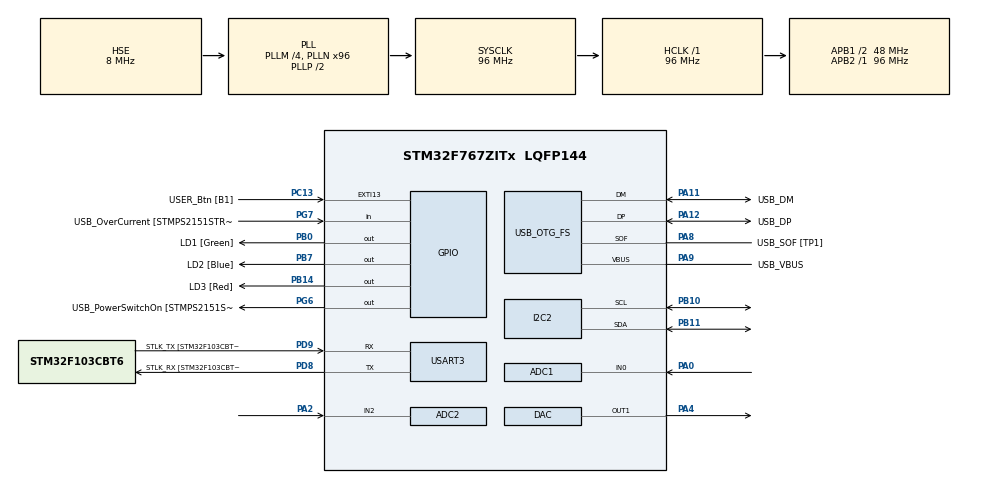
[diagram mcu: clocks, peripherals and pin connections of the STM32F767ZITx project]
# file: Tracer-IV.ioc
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ADC1.Channel-1\#ChannelRegularConversion=ADC_CHANNEL_0
ADC1.NbrOfConversionFlag=1
ADC1.Rank-1\#ChannelRegularConversion=1
ADC1.SamplingTime-1\#ChannelRegularConversion=ADC_SAMPLETIME_480CYCLES
ADC1.master=1
ADC2.Channel-0\#ChannelRegularConversion=ADC_CHANNEL_2
ADC2.NbrOfConversionFlag=1
ADC2.Rank-0\#ChannelRegularConversion=1
ADC2.SamplingTime-0\#ChannelRegularConversion=ADC_SAMPLETIME_480CYCLES
CORTEX_M7.default_mode_Activation=1
I2C2.Timing=0x20303E5D
Mcu.Family=STM32F7
Mcu.Name=STM32F767ZITx
Mcu.Package=LQFP144
NVIC.EXTI15_10_IRQn=true\:5\:0\:true\:false\:true\:true\:true\:true
NVIC.PriorityGroup=NVIC_PRIORITYGROUP_4
PA0/WKUP.Signal=ADCx_IN0
PA10.GPIO_Label=USB_ID
PA10.Signal=USB_OTG_FS_ID
PA11.GPIO_Label=USB_DM
PA11.Mode=Device_Only
PA11.Signal=USB_OTG_FS_DM
PA12.GPIO_Label=USB_DP
PA12.Mode=Device_Only
PA12.Signal=USB_OTG_FS_DP
PA13.GPIO_Label=TMS
PA13.Mode=Serial_Wire
PA13.Signal=SYS_JTMS-SWDIO
PA14.GPIO_Label=TCK
PA14.Mode=Serial_Wire
PA14.Signal=SYS_JTCK-SWCLK
PA2.Signal=ADCx_IN2
PA4.Signal=COMP_DAC1_group
PA7.GPIO_Label=RMII_CRS_DV [LAN8742A-CZ-TR_CRS_DV]
PA7.Signal=ETH_CRS_DV
PA8.GPIO_Label=USB_SOF [TP1]
PA8.Mode=Activate_SOF_FS
PA8.Signal=USB_OTG_FS_SOF
PA9.GPIO_Label=USB_VBUS
PA9.Mode=Activate_VBUS
PA9.Signal=USB_OTG_FS_VBUS
PB0.GPIO_Label=LD1 [Green]
PB0.Signal=GPIO_Output
PB10.GPIO_Pu=GPIO_PULLUP
PB10.Mode=I2C
PB10.Signal=I2C2_SCL
PB11.GPIO_Pu=GPIO_PULLUP
PB11.Mode=I2C
PB11.Signal=I2C2_SDA
PB13.GPIO_Label=RMII_TXD1 [LAN8742A-CZ-TR_TXD1]
PB13.Signal=ETH_TXD1
PB14.GPIO_Label=LD3 [Red]
PB14.Signal=GPIO_Output
PB3.GPIO_Label=SWO
PB3.Signal=SYS_JTDO-SWO
PB7.GPIO_Label=LD2 [Blue]
PB7.Signal=GPIO_Output
PC1.GPIO_Label=RMII_MDC [LAN8742A-CZ-TR_MDC]
PC1.Signal=ETH_MDC
PC13.GPIO_Label=USER_Btn [B1]
PC13.Signal=GPXTI13
PC14/OSC32_IN.Mode=LSE-External-Oscillator
PC14/OSC32_IN.Signal=RCC_OSC32_IN
PC15/OSC32_OUT.Mode=LSE-External-Oscillator
PC15/OSC32_OUT.Signal=RCC_OSC32_OUT
PC4.GPIO_Label=RMII_RXD0 [LAN8742A-CZ-TR_RXD0]
PC4.Signal=ETH_RXD0
PC5.GPIO_Label=RMII_RXD1 [LAN8742A-CZ-TR_RXD1]
PC5.Signal=ETH_RXD1
PD8.GPIO_Label=STLK_RX [STM32F103CBT6_PA3]
PD8.Mode=Asynchronous
PD8.Signal=USART3_TX
PD9.GPIO_Label=STLK_TX [STM32F103CBT6_PA2]
PD9.Mode=Asynchronous
PD9.Signal=USART3_RX
PG11.GPIO_Label=RMII_TX_EN [LAN8742A-CZ-TR_TXEN]
PG11.Signal=ETH_TX_EN
PG13.GPIO_Label=RMII_TXD0 [LAN8742A-CZ-TR_TXD0]
PG13.Signal=ETH_TXD0
PG6.GPIO_Label=USB_PowerSwitchOn [STMPS2151STR_EN]
PG6.Signal=GPIO_Output
PG7.GPIO_Label=USB_OverCurrent [STMPS2151STR_FAULT]
PG7.Signal=GPIO_Input
PH0/OSC_IN.GPIO_Label=MCO [STM32F103CBT6_PA8]
PH0/OSC_IN.Mode=HSE-External-Clock-Source
PH0/OSC_IN.Signal=RCC_OSC_IN
PH1/OSC_OUT.Mode=HSE-External-Clock-Source
PH1/OSC_OUT.Signal=RCC_OSC_OUT
ProjectManager.HeapSize=0x200
ProjectManager.StackSize=0x400
ProjectManager.TargetToolchain=STM32CubeIDE
RCC.48MHZClocksFreq_Value=24000000
RCC.AHBFreq_Value=96000000
RCC.APB1CLKDivider=RCC_HCLK_DIV2
RCC.APB1Freq_Value=48000000
RCC.APB1TimFreq_Value=96000000
RCC.APB2Freq_Value=96000000
RCC.APB2TimFreq_Value=96000000
RCC.CortexFreq_Value=96000000
RCC.HCLKFreq_Value=96000000
RCC.HSE_VALUE=8000000
RCC.HSI_VALUE=16000000
RCC.PLLM=4
RCC.PLLMUL=RCC_PLL_MUL9
RCC.PLLN=96
RCC.PLLQ=4
RCC.PRESCALERUSB=RCC_USBCLKSOURCE_PLL_DIV1_5
RCC.SYSCLKFreq_VALUE=96000000
RCC.SYSCLKSource=RCC_SYSCLKSOURCE_PLLCLK
RCC.SYSCLKSourceVirtual=RCC_SYSCLKSOURCE_PLLCLK
RCC.USBFreq_Value=48000000
RCC.VCOOutputFreq_Value=192000000
SH.ADCx_IN0.0=ADC1_IN0,IN0
SH.ADCx_IN2.0=ADC2_IN2,IN2
SH.COMP_DAC1_group.0=DAC_OUT1,DAC_OUT1
USART3.VirtualMode-Asynchronous=VM_ASYNC
USB_OTG_FS.VirtualMode=Device_Only
board=NUCLEO-F767ZI

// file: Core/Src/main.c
/* USER CODE BEGIN Header */
/**
 ******************************************************************************
 * @file           : main.c
 * @brief          : Main program body
 ******************************************************************************
 * @attention
 *
 * Copyright (c) 2026 STMicroelectronics.
 * All rights reserved.
 *
 * This software is licensed under terms that can be found in the LICENSE file
 * in the root directory of this software component.
 * If no LICENSE file comes with this software, it is provided AS-IS.
 *
 ******************************************************************************
 */
/* USER CODE END Header */
#include "main.h"

/* USER CODE BEGIN Includes */
#include <stdio.h>
#include "INA219.h"
/* USER CODE END Includes */

ADC_HandleTypeDef hadc1;
ADC_HandleTypeDef hadc2;

DAC_HandleTypeDef hdac;

I2C_HandleTypeDef hi2c2;

UART_HandleTypeDef huart3;

PCD_HandleTypeDef hpcd_USB_OTG_FS;

/* USER CODE BEGIN PV */
#define DEBOUNCE_MS      200
#define VREF             3.3f
#define DAC_MAX          4095.0f
#define SWEEP_STEP_V     0.05f   // bước điện áp
#define SWEEP_STEPS      66      // 66 x 0.05 = 3.3 V
#define SETTLE_MS        10      // chờ ổn định sau mỗi bước
#define R_SHUNT_OHM      0.1f
#define CAL_SAMPLES      64      // số mẫu đo offset
#define AVG_SAMPLES      16      // số mẫu trung bình dòng mỗi bước
#define ADC_AVG_SAMPLES  16      // số mẫu trung bình ADC PA0 (đặt 1 để tắt)

static float current_offset_A = 0.0f;   // offset dòng (A), đo lúc bắt đầu sweep
volatile uint8_t button_event = 0;
volatile uint8_t measurement_running = 0;
volatile uint8_t measurement_paused = 0;
static volatile uint32_t last_button_tick = 0;
uint32_t sweep_index = 0;

/* USER CODE END PV */

void SystemClock_Config(void);
static void MPU_Config(void);
static void MX_GPIO_Init(void);
static void MX_ADC1_Init(void);
static void MX_DAC_Init(void);
static void MX_USART3_UART_Init(void);
static void MX_USB_OTG_FS_PCD_Init(void);
static void MX_ADC2_Init(void);
static void MX_I2C2_Init(void);
/* USER CODE BEGIN PFP */
void Calibrate_Current_Offset(void);

/* USER CODE END PFP */

/* USER CODE BEGIN 0 */
// INA219 address
#define INA219_ADDR (0x40 << 1)

// INA219 register
#define INA219_REG_SHUNT_VOLTAGE  0x01
#define INA219_REG_BUS_VOLTAGE    0x02

// Read INA219 register
uint16_t INA219_ReadRegister(uint8_t reg) {
	uint8_t data[2];

	if (HAL_I2C_Mem_Read(&hi2c2,
	INA219_ADDR, reg,
	I2C_MEMADD_SIZE_8BIT, data, 2, 100) != HAL_OK) {
		return 0xFFFF;
	}

	return ((uint16_t) data[0] << 8) | data[1];
}
void DAC_SetVoltage(float volt) {
	if (volt < 0.0f)
		volt = 0.0f;
	if (volt > VREF)
		volt = VREF;
	uint32_t code = (uint32_t) (volt / VREF * DAC_MAX + 0.5f);
	HAL_DAC_SetValue(&hdac, DAC_CHANNEL_1, DAC_ALIGN_12B_R, code);
}
// Đọc 1 mẫu dòng (A) từ INA219. Trả về 1 nếu OK
static uint8_t INA219_ReadCurrent_A(float *i_A) {
	uint16_t raw = INA219_ReadRegister(INA219_REG_SHUNT_VOLTAGE);
	if (raw == 0xFFFF)
		return 0;
	*i_A = (((int16_t) raw) * 0.00001f) / R_SHUNT_OHM;
	return 1;
}

// Đọc V_BUS (V) từ INA219. Trả về 1 nếu OK
static uint8_t INA219_ReadBusVoltage_V(float *v_bus) {
	uint16_t raw_bus = INA219_ReadRegister(INA219_REG_BUS_VOLTAGE);
	if (raw_bus == 0xFFFF)
		return 0;
	*v_bus = (raw_bus >> 3) * 0.004f;
	return 1;
}

// Khởi tạo lại I2C2 để thoát trạng thái treo sau lỗi
static void INA219_I2C_Recover(void) {
	HAL_I2C_DeInit(&hi2c2);
	HAL_I2C_Init(&hi2c2);
	HAL_I2CEx_ConfigAnalogFilter(&hi2c2, I2C_ANALOGFILTER_ENABLE);
	HAL_I2CEx_ConfigDigitalFilter(&hi2c2, 0);
}

// Trung bình n mẫu dòng (A). Delay 1 ms để INA219 kịp có kết quả chuyển đổi mới
static float INA219_ReadCurrentAvg_A(uint16_t n) {
	float sum = 0.0f;
	uint16_t cnt = 0;
	for (uint16_t k = 0; k < n; k++) {
		float x;
		if (INA219_ReadCurrent_A(&x)) {
			sum += x;
			cnt++;
		}
		HAL_Delay(1);
	}
	return (cnt > 0) ? (sum / cnt) : 0.0f;
}

// Trung bình n mẫu ADC1 (PA0)
static uint32_t ADC1_ReadAvg(uint16_t n) {
	uint32_t sum = 0;
	uint16_t cnt = 0;
	for (uint16_t k = 0; k < n; k++) {
		HAL_ADC_Start(&hadc1);
		if (HAL_ADC_PollForConversion(&hadc1, 10) == HAL_OK) {
			sum += HAL_ADC_GetValue(&hadc1);
			cnt++;
		}
	}
	HAL_ADC_Stop(&hadc1);
	return (cnt > 0) ? (sum / cnt) : 0;
}

// Đo offset dòng khi DAC = 0 V (LED chưa dẫn nên dòng thật ≈ 0)
void Calibrate_Current_Offset(void) {
	DAC_SetVoltage(0.0f);
	HAL_Delay(200);                       // chờ điện áp xả và ổn định
	current_offset_A = INA219_ReadCurrentAvg_A(CAL_SAMPLES);
}
// Cho printf() ra UART3
int __io_putchar(int ch) {
	HAL_UART_Transmit(&huart3, (uint8_t*) &ch, 1, 100);
	return ch;
}

// Gửi 1 dòng dữ liệu (LUÔN trên 1 dòng duy nhất, kết thúc bằng \r\n)
static void UART_SendDataLine(float v_set, uint32_t adc_raw, float v_pa0,
		float i_mA, float v_bus, uint8_t bus_ok) {
	char msg[200];
	int len =
			snprintf(msg, sizeof(msg),
					"V_PA4=%.2f V | V_PA0_RAW=%lu | V_PA0=%.3f V | I=%.3f mA | V_BUS=%.3f V | BUS_OK=%u\r\n",
					v_set, (unsigned long) adc_raw, v_pa0, i_mA, v_bus, bus_ok);

	if (len > 0 && len < (int) sizeof(msg)) {
		HAL_UART_Transmit(&huart3, (uint8_t*) msg, (uint16_t) len, 1000);
	}
}

/* USER CODE END 0 */

int main(void) {

	/* MPU Configuration--------------------------------------------------------*/
	MPU_Config();

	/* MCU Configuration--------------------------------------------------------*/

	/* Reset of all peripherals, Initializes the Flash interface and the Systick. */
	HAL_Init();

	/* Configure the system clock */
	SystemClock_Config();

	/* Initialize all configured peripherals */
	MX_GPIO_Init();
	MX_ADC1_Init();
	MX_DAC_Init();
	MX_USART3_UART_Init();
	MX_USB_OTG_FS_PCD_Init();
	MX_ADC2_Init();
	MX_I2C2_Init();
	/* USER CODE BEGIN 2 */

	HAL_Delay(10);
	volatile HAL_StatusTypeDef result;

	result = HAL_I2C_IsDeviceReady(&hi2c2, (uint16_t) (0x40 << 1), 3, 100);
	if (result == HAL_OK) {
		printf("INA219 DETECTED\r\n");
		HAL_GPIO_WritePin(GPIOB, GPIO_PIN_7, GPIO_PIN_SET);   // LED
	} else {
		// KHÔNG kẹt vòng lặp nữa: vẫn cho phép bấm nút,
		// mỗi lần bấm sẽ báo lỗi INA219 lên Python.
		printf("INA219 NOT FOUND\r\n");
		HAL_GPIO_WritePin(GPIOB, GPIO_PIN_7, GPIO_PIN_RESET);
	}

	HAL_DAC_Start(&hdac, DAC_CHANNEL_1);

	/* USER CODE END 2 */

	/* Infinite loop */
	while (1) {

		/* USER CODE BEGIN 3 */
		if (button_event == 1) {

			button_event = 0;

			// =========================================
			// TRẠNG THÁI 1: IDLE -> START
			// =========================================
			if (!measurement_running && !measurement_paused) {

				measurement_running = 1;

				printf("SWEEP START\r\n");

				float v_chk;

				uint8_t ok = INA219_ReadBusVoltage_V(&v_chk);

				if (!ok) {
					INA219_I2C_Recover();
					ok = INA219_ReadBusVoltage_V(&v_chk);
				}

				if (!ok) {

					measurement_running = 0;
					measurement_paused = 0;

					DAC_SetVoltage(0.0f);

					uint32_t adc_raw = ADC1_ReadAvg(1);
					float v_pa0 = ((float) adc_raw * 3.3f) / 4095.0f;

					UART_SendDataLine(0.0f, adc_raw, v_pa0, 0.0f, -1.0f, 0);

					printf("SWEEP ABORTED\r\n");

				} else {

					Calibrate_Current_Offset();

					sweep_index = 0;

					printf("SWEEP READY\r\n");
				}
			}

			// =========================================
			// TRẠNG THÁI 2: RUNNING -> PAUSE
			// =========================================
			else if (measurement_running) {

				measurement_running = 0;
				measurement_paused = 1;

				// Giữ nguyên điện áp DAC hiện tại
				printf("SWEEP PAUSED\r\n");
			}

			// =========================================
			// TRẠNG THÁI 3: PAUSED -> CONTINUE
			// =========================================
			else if (measurement_paused) {

				measurement_paused = 0;
				measurement_running = 1;

				// Không reset sweep_index
				// Không hiệu chuẩn lại offset
				// Tiếp tục tại bước đang dở

				printf("SWEEP CONTINUED\r\n");
			}
		}

		if (measurement_running == 1) {
			// 1. Đặt điện áp PA4
			float v_set = sweep_index * SWEEP_STEP_V;
			DAC_SetVoltage(v_set);
			HAL_Delay(SETTLE_MS);

			// 2. Đọc ADC PA0 (trung bình)
			uint32_t adc_raw = ADC1_ReadAvg(ADC_AVG_SAMPLES);
			float v_pa0 = ((float) adc_raw * 3.3f) / 4095.0f;

			// 3. Đọc V_BUS trước: lỗi thì huỷ ngay, không đọc dòng (tránh chờ timeout)
			float v_bus = -1.0f;
			uint8_t bus_ok = INA219_ReadBusVoltage_V(&v_bus);

			if (!bus_ok) {
				measurement_running = 0;
				DAC_SetVoltage(0.0f);

				UART_SendDataLine(v_set, adc_raw, v_pa0, 0.0f, -1.0f, 0);
				printf("SWEEP ABORTED\r\n");
				continue;               // về đầu vòng lặp, chờ lần bấm sau
			}

			// 4. Đọc dòng (trung bình, đã trừ offset)
			float i_A = INA219_ReadCurrentAvg_A(AVG_SAMPLES) - current_offset_A;

			// 5. Gửi UART (1 dòng)
			UART_SendDataLine(v_set, adc_raw, v_pa0, i_A * 1000.0f, v_bus, 1);

			// 6. Sang bước tiếp theo, hết dải thì dừng
			sweep_index++;
			if (sweep_index > SWEEP_STEPS) {
				measurement_running = 0;
				DAC_SetVoltage(0.0f);
				printf("SWEEP DONE\r\n");
			}
		}
	}
	/* USER CODE END 3 */
}

void SystemClock_Config(void) {
	RCC_OscInitTypeDef RCC_OscInitStruct = { 0 };
	RCC_ClkInitTypeDef RCC_ClkInitStruct = { 0 };

	/** Configure LSE Drive Capability
	 */
	HAL_PWR_EnableBkUpAccess();

	/** Configure the main internal regulator output voltage
	 */
	__HAL_RCC_PWR_CLK_ENABLE();
	__HAL_PWR_VOLTAGESCALING_CONFIG(PWR_REGULATOR_VOLTAGE_SCALE3);

	/** Initializes the RCC Oscillators according to the specified parameters
	 * in the RCC_OscInitTypeDef structure.
	 */
	RCC_OscInitStruct.OscillatorType = RCC_OSCILLATORTYPE_HSE;
	RCC_OscInitStruct.HSEState = RCC_HSE_BYPASS;
	RCC_OscInitStruct.PLL.PLLState = RCC_PLL_ON;
	RCC_OscInitStruct.PLL.PLLSource = RCC_PLLSOURCE_HSE;
	RCC_OscInitStruct.PLL.PLLM = 4;
	RCC_OscInitStruct.PLL.PLLN = 96;
	RCC_OscInitStruct.PLL.PLLP = RCC_PLLP_DIV2;
	RCC_OscInitStruct.PLL.PLLQ = 4;
	RCC_OscInitStruct.PLL.PLLR = 2;
	if (HAL_RCC_OscConfig(&RCC_OscInitStruct) != HAL_OK) {
		Error_Handler();
	}

	/** Activate the Over-Drive mode
	 */
	if (HAL_PWREx_EnableOverDrive() != HAL_OK) {
		Error_Handler();
	}

	/** Initializes the CPU, AHB and APB buses clocks
	 */
	RCC_ClkInitStruct.ClockType = RCC_CLOCKTYPE_HCLK | RCC_CLOCKTYPE_SYSCLK
			| RCC_CLOCKTYPE_PCLK1 | RCC_CLOCKTYPE_PCLK2;
	RCC_ClkInitStruct.SYSCLKSource = RCC_SYSCLKSOURCE_PLLCLK;
	RCC_ClkInitStruct.AHBCLKDivider = RCC_SYSCLK_DIV1;
	RCC_ClkInitStruct.APB1CLKDivider = RCC_HCLK_DIV2;
	RCC_ClkInitStruct.APB2CLKDivider = RCC_HCLK_DIV1;

	if (HAL_RCC_ClockConfig(&RCC_ClkInitStruct, FLASH_LATENCY_3) != HAL_OK) {
		Error_Handler();
	}
}

static void MX_ADC1_Init(void) {

	ADC_ChannelConfTypeDef sConfig = { 0 };

	/** Configure the global features of the ADC (Clock, Resolution, Data Alignment and number of conversion)
	 */
	hadc1.Instance = ADC1;
	hadc1.Init.ClockPrescaler = ADC_CLOCK_SYNC_PCLK_DIV4;
	hadc1.Init.Resolution = ADC_RESOLUTION_12B;
	hadc1.Init.ScanConvMode = ADC_SCAN_DISABLE;
	hadc1.Init.ContinuousConvMode = DISABLE;
	hadc1.Init.DiscontinuousConvMode = DISABLE;
	hadc1.Init.ExternalTrigConvEdge = ADC_EXTERNALTRIGCONVEDGE_NONE;
	hadc1.Init.ExternalTrigConv = ADC_SOFTWARE_START;
	hadc1.Init.DataAlign = ADC_DATAALIGN_RIGHT;
	hadc1.Init.NbrOfConversion = 1;
	hadc1.Init.DMAContinuousRequests = DISABLE;
	hadc1.Init.EOCSelection = ADC_EOC_SINGLE_CONV;
	if (HAL_ADC_Init(&hadc1) != HAL_OK) {
		Error_Handler();
	}

	/** Configure for the selected ADC regular channel its corresponding rank in the sequencer and its sample time.
	 */
	sConfig.Channel = ADC_CHANNEL_0;
	sConfig.Rank = ADC_REGULAR_RANK_1;
	sConfig.SamplingTime = ADC_SAMPLETIME_480CYCLES;
	if (HAL_ADC_ConfigChannel(&hadc1, &sConfig) != HAL_OK) {
		Error_Handler();
	}

}

static void MX_ADC2_Init(void) {

	ADC_ChannelConfTypeDef sConfig = { 0 };

	/** Configure the global features of the ADC (Clock, Resolution, Data Alignment and number of conversion)
	 */
	hadc2.Instance = ADC2;
	hadc2.Init.ClockPrescaler = ADC_CLOCK_SYNC_PCLK_DIV4;
	hadc2.Init.Resolution = ADC_RESOLUTION_12B;
	hadc2.Init.ScanConvMode = ADC_SCAN_DISABLE;
	hadc2.Init.ContinuousConvMode = DISABLE;
	hadc2.Init.DiscontinuousConvMode = DISABLE;
	hadc2.Init.ExternalTrigConvEdge = ADC_EXTERNALTRIGCONVEDGE_NONE;
	hadc2.Init.ExternalTrigConv = ADC_SOFTWARE_START;
	hadc2.Init.DataAlign = ADC_DATAALIGN_RIGHT;
	hadc2.Init.NbrOfConversion = 1;
	hadc2.Init.DMAContinuousRequests = DISABLE;
	hadc2.Init.EOCSelection = ADC_EOC_SINGLE_CONV;
	if (HAL_ADC_Init(&hadc2) != HAL_OK) {
		Error_Handler();
	}

	/** Configure for the selected ADC regular channel its corresponding rank in the sequencer and its sample time.
	 */
	sConfig.Channel = ADC_CHANNEL_2;
	sConfig.Rank = ADC_REGULAR_RANK_1;
	sConfig.SamplingTime = ADC_SAMPLETIME_480CYCLES;
	if (HAL_ADC_ConfigChannel(&hadc2, &sConfig) != HAL_OK) {
		Error_Handler();
	}

}

static void MX_DAC_Init(void) {

	DAC_ChannelConfTypeDef sConfig = { 0 };

	/** DAC Initialization
	 */
	hdac.Instance = DAC;
	if (HAL_DAC_Init(&hdac) != HAL_OK) {
		Error_Handler();
	}

	/** DAC channel OUT1 config
	 */
	sConfig.DAC_Trigger = DAC_TRIGGER_NONE;
	sConfig.DAC_OutputBuffer = DAC_OUTPUTBUFFER_ENABLE;
	if (HAL_DAC_ConfigChannel(&hdac, &sConfig, DAC_CHANNEL_1) != HAL_OK) {
		Error_Handler();
	}

}

static void MX_I2C2_Init(void) {

	hi2c2.Instance = I2C2;
	hi2c2.Init.Timing = 0x20303E5D;
	hi2c2.Init.OwnAddress1 = 0;
	hi2c2.Init.AddressingMode = I2C_ADDRESSINGMODE_7BIT;
	hi2c2.Init.DualAddressMode = I2C_DUALADDRESS_DISABLE;
	hi2c2.Init.OwnAddress2 = 0;
	hi2c2.Init.OwnAddress2Masks = I2C_OA2_NOMASK;
	hi2c2.Init.GeneralCallMode = I2C_GENERALCALL_DISABLE;
	hi2c2.Init.NoStretchMode = I2C_NOSTRETCH_DISABLE;
	if (HAL_I2C_Init(&hi2c2) != HAL_OK) {
		Error_Handler();
	}

	/** Configure Analogue filter
	 */
	if (HAL_I2CEx_ConfigAnalogFilter(&hi2c2, I2C_ANALOGFILTER_ENABLE)
			!= HAL_OK) {
		Error_Handler();
	}

	/** Configure Digital filter
	 */
	if (HAL_I2CEx_ConfigDigitalFilter(&hi2c2, 0) != HAL_OK) {
		Error_Handler();
	}

}

static void MX_USART3_UART_Init(void) {

	huart3.Instance = USART3;
	huart3.Init.BaudRate = 115200;
	huart3.Init.WordLength = UART_WORDLENGTH_8B;
	huart3.Init.StopBits = UART_STOPBITS_1;
	huart3.Init.Parity = UART_PARITY_NONE;
	huart3.Init.Mode = UART_MODE_TX_RX;
	huart3.Init.HwFlowCtl = UART_HWCONTROL_NONE;
	huart3.Init.OverSampling = UART_OVERSAMPLING_16;
	huart3.Init.OneBitSampling = UART_ONE_BIT_SAMPLE_DISABLE;
	huart3.AdvancedInit.AdvFeatureInit = UART_ADVFEATURE_NO_INIT;
	if (HAL_UART_Init(&huart3) != HAL_OK) {
		Error_Handler();
	}

}

static void MX_USB_OTG_FS_PCD_Init(void) {

	hpcd_USB_OTG_FS.Instance = USB_OTG_FS;
	hpcd_USB_OTG_FS.Init.dev_endpoints = 6;
	hpcd_USB_OTG_FS.Init.speed = PCD_SPEED_FULL;
	hpcd_USB_OTG_FS.Init.dma_enable = DISABLE;
	hpcd_USB_OTG_FS.Init.phy_itface = PCD_PHY_EMBEDDED;
	hpcd_USB_OTG_FS.Init.Sof_enable = ENABLE;
	hpcd_USB_OTG_FS.Init.low_power_enable = DISABLE;
	hpcd_USB_OTG_FS.Init.lpm_enable = DISABLE;
	hpcd_USB_OTG_FS.Init.vbus_sensing_enable = ENABLE;
	hpcd_USB_OTG_FS.Init.use_dedicated_ep1 = DISABLE;
	if (HAL_PCD_Init(&hpcd_USB_OTG_FS) != HAL_OK) {
		Error_Handler();
	}

}

static void MX_GPIO_Init(void) {
	GPIO_InitTypeDef GPIO_InitStruct = { 0 };

	/* GPIO Ports Clock Enable */
	__HAL_RCC_GPIOC_CLK_ENABLE();
	__HAL_RCC_GPIOH_CLK_ENABLE();
	__HAL_RCC_GPIOA_CLK_ENABLE();
	__HAL_RCC_GPIOB_CLK_ENABLE();
	__HAL_RCC_GPIOD_CLK_ENABLE();
	__HAL_RCC_GPIOG_CLK_ENABLE();

	/*Configure GPIO pin Output Level */
	HAL_GPIO_WritePin(GPIOB, LD1_Pin | LD3_Pin | LD2_Pin, GPIO_PIN_RESET);

	/*Configure GPIO pin Output Level */
	HAL_GPIO_WritePin(USB_PowerSwitchOn_GPIO_Port, USB_PowerSwitchOn_Pin,
			GPIO_PIN_RESET);

	/*Configure GPIO pin : USER_Btn_Pin */
	GPIO_InitStruct.Pin = USER_Btn_Pin;
	GPIO_InitStruct.Mode = GPIO_MODE_IT_RISING;
	GPIO_InitStruct.Pull = GPIO_NOPULL;
	HAL_GPIO_Init(USER_Btn_GPIO_Port, &GPIO_InitStruct);

	/*Configure GPIO pins : RMII_MDC_Pin RMII_RXD0_Pin RMII_RXD1_Pin */
	GPIO_InitStruct.Pin = RMII_MDC_Pin | RMII_RXD0_Pin | RMII_RXD1_Pin;
	GPIO_InitStruct.Mode = GPIO_MODE_AF_PP;
	GPIO_InitStruct.Pull = GPIO_NOPULL;
	GPIO_InitStruct.Speed = GPIO_SPEED_FREQ_HIGH;
	GPIO_InitStruct.Alternate = GPIO_AF11_ETH;
	HAL_GPIO_Init(GPIOC, &GPIO_InitStruct);

	/*Configure GPIO pin : RMII_CRS_DV_Pin */
	GPIO_InitStruct.Pin = RMII_CRS_DV_Pin;
	GPIO_InitStruct.Mode = GPIO_MODE_AF_PP;
	GPIO_InitStruct.Pull = GPIO_NOPULL;
	GPIO_InitStruct.Speed = GPIO_SPEED_FREQ_HIGH;
	GPIO_InitStruct.Alternate = GPIO_AF11_ETH;
	HAL_GPIO_Init(RMII_CRS_DV_GPIO_Port, &GPIO_InitStruct);

	/*Configure GPIO pins : LD1_Pin LD3_Pin LD2_Pin */
	GPIO_InitStruct.Pin = LD1_Pin | LD3_Pin | LD2_Pin;
	GPIO_InitStruct.Mode = GPIO_MODE_OUTPUT_PP;
	GPIO_InitStruct.Pull = GPIO_NOPULL;
	GPIO_InitStruct.Speed = GPIO_SPEED_FREQ_LOW;
	HAL_GPIO_Init(GPIOB, &GPIO_InitStruct);

	/*Configure GPIO pin : RMII_TXD1_Pin */
	GPIO_InitStruct.Pin = RMII_TXD1_Pin;
	GPIO_InitStruct.Mode = GPIO_MODE_AF_PP;
	GPIO_InitStruct.Pull = GPIO_NOPULL;
	GPIO_InitStruct.Speed = GPIO_SPEED_FREQ_HIGH;
	GPIO_InitStruct.Alternate = GPIO_AF11_ETH;
	HAL_GPIO_Init(RMII_TXD1_GPIO_Port, &GPIO_InitStruct);

	/*Configure GPIO pin : USB_PowerSwitchOn_Pin */
	GPIO_InitStruct.Pin = USB_PowerSwitchOn_Pin;
	GPIO_InitStruct.Mode = GPIO_MODE_OUTPUT_PP;
	GPIO_InitStruct.Pull = GPIO_NOPULL;
	GPIO_InitStruct.Speed = GPIO_SPEED_FREQ_LOW;
	HAL_GPIO_Init(USB_PowerSwitchOn_GPIO_Port, &GPIO_InitStruct);

	/*Configure GPIO pin : USB_OverCurrent_Pin */
	GPIO_InitStruct.Pin = USB_OverCurrent_Pin;
	GPIO_InitStruct.Mode = GPIO_MODE_INPUT;
	GPIO_InitStruct.Pull = GPIO_NOPULL;
	HAL_GPIO_Init(USB_OverCurrent_GPIO_Port, &GPIO_InitStruct);

	/*Configure GPIO pins : RMII_TX_EN_Pin RMII_TXD0_Pin */
	GPIO_InitStruct.Pin = RMII_TX_EN_Pin | RMII_TXD0_Pin;
	GPIO_InitStruct.Mode = GPIO_MODE_AF_PP;
	GPIO_InitStruct.Pull = GPIO_NOPULL;
	GPIO_InitStruct.Speed = GPIO_SPEED_FREQ_HIGH;
	GPIO_InitStruct.Alternate = GPIO_AF11_ETH;
	HAL_GPIO_Init(GPIOG, &GPIO_InitStruct);

	/* EXTI interrupt init*/
	HAL_NVIC_SetPriority(EXTI15_10_IRQn, 5, 0);
	HAL_NVIC_EnableIRQ(EXTI15_10_IRQn);

}
/* USER CODE BEGIN 4 */
void HAL_GPIO_EXTI_Callback(uint16_t GPIO_Pin) {
	if (GPIO_Pin == GPIO_PIN_13) {
		uint32_t now = HAL_GetTick();

		if ((now - last_button_tick) >= DEBOUNCE_MS) {
			last_button_tick = now;
			button_event = 1;            // chỉ nhận lần nhấn đầu tiên
		}
		// các xung dội trong 200 ms tiếp theo bị bỏ qua
	}
}
/* USER CODE END 4 */

/* MPU Configuration */

void MPU_Config(void) {
	MPU_Region_InitTypeDef MPU_InitStruct = { 0 };

	/* Disables the MPU */
	HAL_MPU_Disable();

	/** Initializes and configures the Region and the memory to be protected
	 */
	MPU_InitStruct.Enable = MPU_REGION_ENABLE;
	MPU_InitStruct.Number = MPU_REGION_NUMBER0;
	MPU_InitStruct.BaseAddress = 0x0;
	MPU_InitStruct.Size = MPU_REGION_SIZE_4GB;
	MPU_InitStruct.SubRegionDisable = 0x87;
	MPU_InitStruct.TypeExtField = MPU_TEX_LEVEL0;
	MPU_InitStruct.AccessPermission = MPU_REGION_NO_ACCESS;
	MPU_InitStruct.DisableExec = MPU_INSTRUCTION_ACCESS_DISABLE;
	MPU_InitStruct.IsShareable = MPU_ACCESS_SHAREABLE;
	MPU_InitStruct.IsCacheable = MPU_ACCESS_NOT_CACHEABLE;
	MPU_InitStruct.IsBufferable = MPU_ACCESS_NOT_BUFFERABLE;

	HAL_MPU_ConfigRegion(&MPU_InitStruct);
	/* Enables the MPU */
	HAL_MPU_Enable(MPU_PRIVILEGED_DEFAULT);

}

void Error_Handler(void) {
	__disable_irq();
	while (1) {
	}
}
